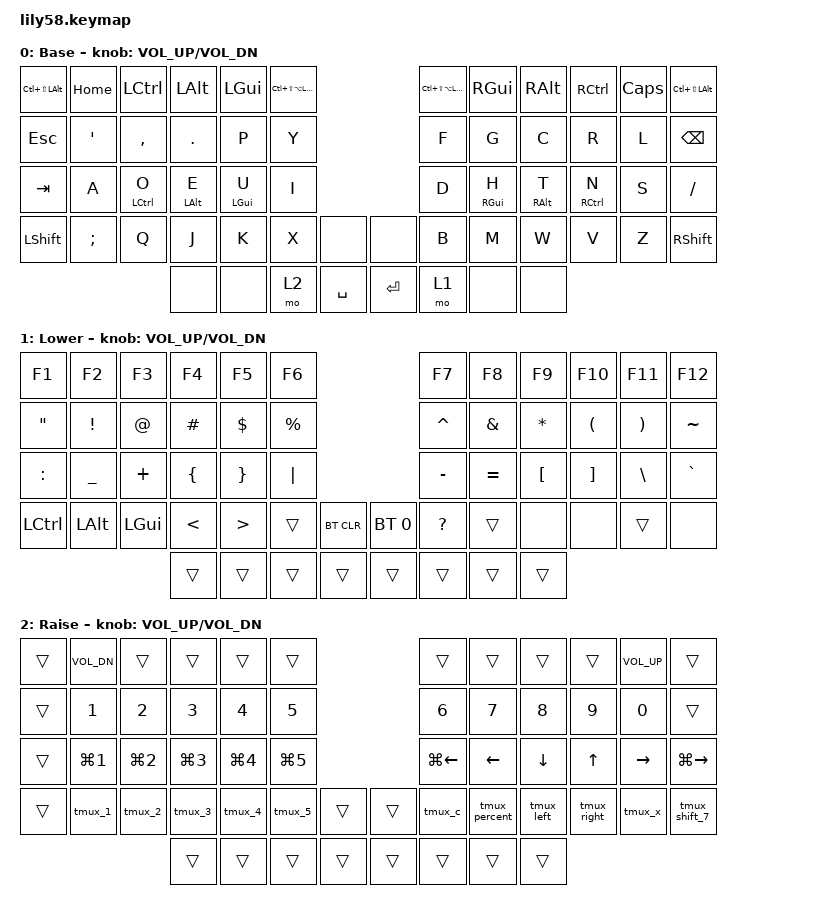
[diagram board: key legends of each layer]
/*
 * Copyright (c) 2020 The ZMK Contributors
 *
 * SPDX-License-Identifier: MIT
 */

#include <behaviors.dtsi>
#include <dt-bindings/zmk/keys.h>
#include <dt-bindings/zmk/bt.h>
#include <dt-bindings/zmk/ext_power.h>

/ {
    behaviors {
        hm: homerow_mods {
            compatible = "zmk,behavior-hold-tap";
            label = "HOMEROW_MODS";
            #binding-cells = <2>;
            tapping-term-ms = <300>;
            quick-tap-ms = <0>;
            flavor = "tap-preferred";
            bindings = <&kp>, <&kp>;
        };
    };

    macros {
        tmux_1: tmux_1 {
            compatible = "zmk,behavior-macro";
            #binding-cells = <0>;
            wait-ms = <100>;
            tap-ms = <40>;
            bindings = <&macro_tap &kp LC(B)>, <&macro_tap &kp N1>;
        };
        tmux_2: tmux_2 {
            compatible = "zmk,behavior-macro";
            #binding-cells = <0>;
            wait-ms = <100>;
            tap-ms = <40>;
            bindings = <&macro_tap &kp LC(B)>, <&macro_tap &kp N2>;
        };
        tmux_3: tmux_3 {
            compatible = "zmk,behavior-macro";
            #binding-cells = <0>;
            wait-ms = <100>;
            tap-ms = <40>;
            bindings = <&macro_tap &kp LC(B)>, <&macro_tap &kp N3>;
        };
        tmux_4: tmux_4 {
            compatible = "zmk,behavior-macro";
            #binding-cells = <0>;
            wait-ms = <100>;
            tap-ms = <40>;
            bindings = <&macro_tap &kp LC(B)>, <&macro_tap &kp N4>;
        };
        tmux_5: tmux_5 {
            compatible = "zmk,behavior-macro";
            #binding-cells = <0>;
            wait-ms = <100>;
            tap-ms = <40>;
            bindings = <&macro_tap &kp LC(B)>, <&macro_tap &kp N5>;
        };
        tmux_c: tmux_c {
            compatible = "zmk,behavior-macro";
            #binding-cells = <0>;
            wait-ms = <100>;
            tap-ms = <40>;
            bindings = <&macro_tap &kp LC(B)>, <&macro_tap &kp C>;
        };
        tmux_percent: tmux_percent {
            compatible = "zmk,behavior-macro";
            #binding-cells = <0>;
            wait-ms = <100>;
            tap-ms = <40>;
            bindings = <&macro_tap &kp LC(B)>, <&macro_tap &kp PRCNT>;
        };
        tmux_left: tmux_left {
            compatible = "zmk,behavior-macro";
            #binding-cells = <0>;
            wait-ms = <100>;
            tap-ms = <40>;
            bindings = <&macro_tap &kp LC(B)>, <&macro_tap &kp LEFT>;
        };
        tmux_right: tmux_right {
            compatible = "zmk,behavior-macro";
            #binding-cells = <0>;
            wait-ms = <100>;
            tap-ms = <40>;
            bindings = <&macro_tap &kp LC(B)>, <&macro_tap &kp RIGHT>;
        };
        tmux_x: tmux_x {
            compatible = "zmk,behavior-macro";
            #binding-cells = <0>;
            wait-ms = <100>;
            tap-ms = <40>;
            bindings = <&macro_tap &kp LC(B)>, <&macro_tap &kp X>;
        };
        tmux_shift_7: tmux_shift_7 {
            compatible = "zmk,behavior-macro";
            #binding-cells = <0>;
            wait-ms = <100>;
            tap-ms = <40>;
            bindings = <&macro_tap &kp LC(B)>, <&macro_tap &kp LSHFT>, <&macro_tap &kp N7>;
        };
    };

    keymap {
        compatible = "zmk,keymap";

        default_layer {
            display-name = "Base";
            bindings = <
&kp LC(LS(LALT)) &kp HOME  &kp LCTRL     &kp LALT     &kp LGUI     &kp LC(LS(LA(LGUI)))                       &kp LC(LS(LA(LGUI))) &kp RGUI     &kp RALT     &kp RCTRL     &kp CAPS  &kp LC(LS(LALT))
&kp ESC           &kp SQT   &kp COMMA     &kp DOT      &kp P        &kp Y                                      &kp F                 &kp G        &kp C        &kp R        &kp L     &kp BSPC
&kp TAB           &kp A     &hm LCTRL O   &hm LALT E   &hm LGUI U   &kp I                                      &kp D                 &hm RGUI H   &hm RALT T   &hm RCTRL N  &kp S     &kp FSLH
&kp LSHFT         &kp SEMI  &kp Q         &kp J        &kp K        &kp X        &none                  &none    &kp B                 &kp M        &kp W        &kp V        &kp Z     &kp RSHFT
                                         &none         &none        &mo 2        &kp SPACE              &kp RET &mo 1                 &none         &none
            >;

            sensor-bindings = <&inc_dec_kp C_VOL_UP C_VOL_DN>;
        };

        lower_layer {
            display-name = "Lower";
            bindings = <
&kp F1      &kp F2    &kp F3    &kp F4    &kp F5    &kp F6                               &kp F7     &kp F8     &kp F9    &kp F10   &kp F11   &kp F12
&kp DQT     &kp EXCL  &kp AT    &kp HASH  &kp DLLR  &kp PRCNT                            &kp CARET  &kp AMPS   &kp ASTRK &kp LPAR  &kp RPAR  &kp TILDE
&kp COLON   &kp UNDER &kp PLUS  &kp LBRC  &kp RBRC  &kp PIPE                             &kp MINUS  &kp EQUAL  &kp LBKT  &kp RBKT  &kp BSLH  &kp GRAVE
&kp LCTRL   &kp LALT  &kp LGUI  &kp LT    &kp GT    &trans      &bt BT_CLR   &bt BT_SEL 0 &kp QMARK  &trans     &none     &none      &trans     &none
                              &trans     &trans     &trans      &trans       &trans       &trans     &trans     &trans
            >;

            sensor-bindings = <&inc_dec_kp C_VOL_UP C_VOL_DN>;
        };

        raise_layer {
            display-name = "Raise";
            bindings = <
&trans     &kp C_VOL_DN &trans      &trans      &trans      &trans                              &trans          &trans        &trans       &trans      &kp C_VOL_UP &trans
&trans     &kp N1       &kp N2      &kp N3      &kp N4      &kp N5                              &kp N6          &kp N7        &kp N8       &kp N9      &kp N0       &trans
&trans     &kp LG(N1)   &kp LG(N2)  &kp LG(N3)  &kp LG(N4)  &kp LG(N5)                          &kp LG(LEFT)    &kp LEFT      &kp DOWN     &kp UP      &kp RIGHT    &kp LG(RIGHT)
&trans     &tmux_1      &tmux_2     &tmux_3     &tmux_4     &tmux_5   &trans          &trans    &tmux_c         &tmux_percent &tmux_left   &tmux_right &tmux_x      &tmux_shift_7
                           &trans      &trans      &trans      &trans     &trans          &trans    &trans          &trans
            >;

            sensor-bindings = <&inc_dec_kp C_VOL_UP C_VOL_DN>;
        };

        extra_1 {
            status = "reserved";
        };

        extra_2 {
            status = "reserved";
        };

        extra_3 {
            status = "reserved";
        };
    };
};
